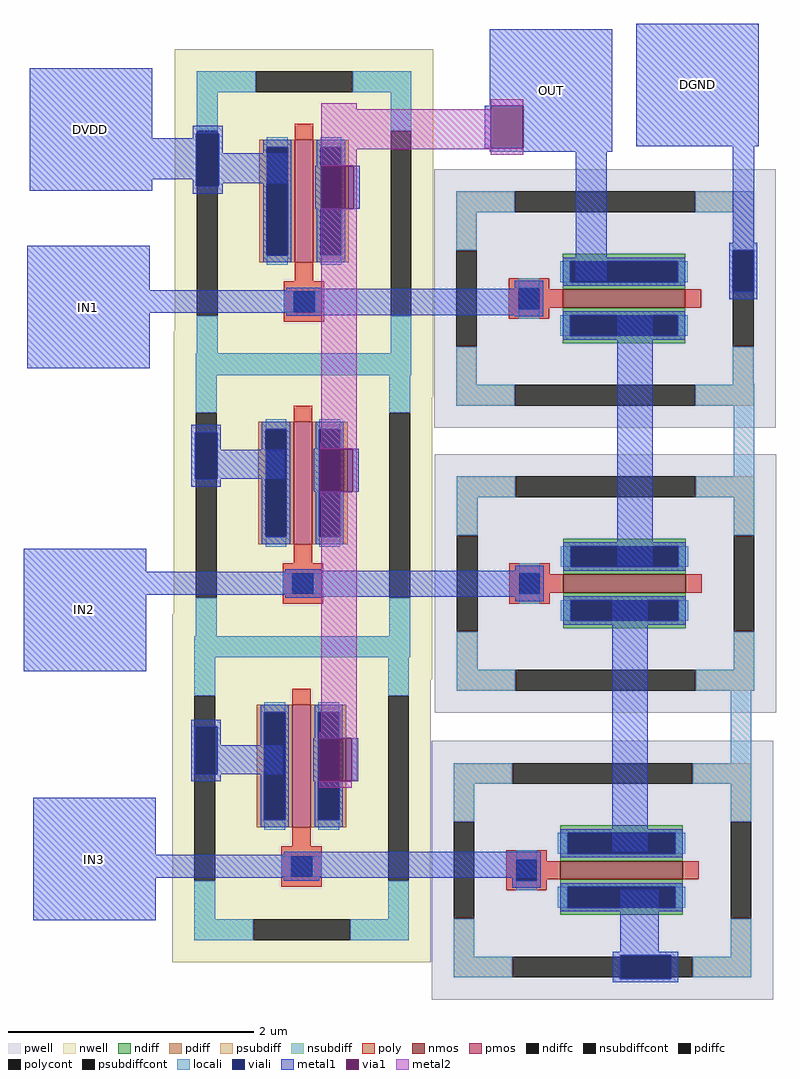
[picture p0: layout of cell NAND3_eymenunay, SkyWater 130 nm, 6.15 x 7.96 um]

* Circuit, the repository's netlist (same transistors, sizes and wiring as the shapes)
* NGSPICE file created from NAND3_eymenunay.ext - technology: sky130B

.subckt sky130_fd_pr__nfet_01v8_64Z3AY a_15_n131# a_n175_n243# a_n33_91# a_n73_n131#
X0 a_15_n131# a_n33_91# a_n73_n131# a_n175_n243# sky130_fd_pr__nfet_01v8 ad=2.9e+11p pd=2.58e+06u as=2.9e+11p ps=2.58e+06u w=1e+06u l=150000u
.ends

.subckt sky130_fd_pr__pfet_01v8_QDT3BL a_n73_n64# a_n33_n161# a_15_n64# w_n211_n284#
X0 a_15_n64# a_n33_n161# a_n73_n64# w_n211_n284# sky130_fd_pr__pfet_01v8 ad=2.9e+11p pd=2.58e+06u as=2.9e+11p ps=2.58e+06u w=1e+06u l=150000u
.ends

.subckt sky130_fd_pr__pfet_01v8_BDT3BC a_n73_n64# a_n33_n161# a_15_n64# w_n211_n284#
X0 a_15_n64# a_n33_n161# a_n73_n64# w_n211_n284# sky130_fd_pr__pfet_01v8 ad=2.9e+11p pd=2.58e+06u as=2.9e+11p ps=2.58e+06u w=1e+06u l=150000u
.ends

.subckt sky130_fd_pr__pfet_01v8_7HS3BC a_n73_n64# a_n33_n161# a_15_n64# w_n211_n284#
X0 a_15_n64# a_n33_n161# a_n73_n64# w_n211_n284# sky130_fd_pr__pfet_01v8 ad=2.9e+11p pd=2.58e+06u as=2.9e+11p ps=2.58e+06u w=1e+06u l=150000u
.ends

.subckt NAND3_eymenunay IN1 IN2 OUT DVDD DGND IN3
XXM1 m1_1770_107# DGND IN3 DGND sky130_fd_pr__nfet_01v8_64Z3AY
XXM2 OUT DGND IN1 m1_1778_573# sky130_fd_pr__nfet_01v8_64Z3AY
XXM3 DVDD IN3 OUT DVDD sky130_fd_pr__pfet_01v8_QDT3BL
XXM4 DVDD IN2 OUT DVDD sky130_fd_pr__pfet_01v8_BDT3BC
XXM5 DVDD IN1 OUT DVDD sky130_fd_pr__pfet_01v8_7HS3BC
XXM6 m1_1778_573# DGND IN2 m1_1770_107# sky130_fd_pr__nfet_01v8_64Z3AY
.ends

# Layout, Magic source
magic
tech sky130B
magscale 1 2
<< locali >>
rect 1968 682 2002 870
rect 1963 215 1997 403
<< viali >>
rect 1091 1192 1128 1279
rect 1967 1020 2001 1088
rect 1089 714 1125 791
rect 1089 233 1125 310
rect 1783 -101 1866 -63
<< metal1 >>
rect 819 1271 1019 1385
rect 1570 1324 1770 1449
rect 1085 1279 1134 1291
rect 1085 1271 1091 1279
rect 819 1204 1091 1271
rect 819 1185 1019 1204
rect 1085 1192 1091 1204
rect 1128 1246 1134 1279
rect 1562 1254 1572 1324
rect 1625 1254 1770 1324
rect 1809 1258 2009 1458
rect 1570 1249 1770 1254
rect 1128 1197 1242 1246
rect 1128 1192 1134 1197
rect 1085 1180 1134 1192
rect 1285 1156 1295 1226
rect 1348 1156 1358 1226
rect 815 1023 1015 1095
rect 1710 1038 1761 1249
rect 1967 1100 2002 1258
rect 1961 1088 2007 1100
rect 1239 1023 1655 1025
rect 815 986 1655 1023
rect 1961 1020 1967 1088
rect 2001 1020 2007 1088
rect 1961 1008 2007 1020
rect 815 895 1015 986
rect 1239 982 1655 986
rect 1083 791 1131 803
rect 1083 714 1089 791
rect 1125 762 1131 791
rect 1125 715 1235 762
rect 1125 714 1131 715
rect 1083 702 1131 714
rect 1283 694 1293 764
rect 1346 694 1356 764
rect 809 563 1009 601
rect 1778 573 1836 984
rect 1236 563 1658 565
rect 809 526 1658 563
rect 809 401 1009 526
rect 1236 522 1658 526
rect 1083 310 1131 322
rect 1083 233 1089 310
rect 1125 280 1131 310
rect 1125 233 1232 280
rect 1083 221 1131 233
rect 1282 221 1292 291
rect 1345 221 1355 291
rect 825 101 1025 194
rect 1770 107 1828 518
rect 1235 101 1653 106
rect 825 64 1653 101
rect 825 -6 1025 64
rect 1783 -57 1846 44
rect 1771 -63 1878 -57
rect 1771 -101 1783 -63
rect 1866 -101 1878 -63
rect 1771 -107 1878 -101
<< via1 >>
rect 1572 1254 1625 1324
rect 1295 1156 1348 1226
rect 1293 694 1346 764
rect 1292 221 1345 291
<< metal2 >>
rect 1295 1318 1353 1328
rect 1572 1324 1625 1334
rect 1295 1254 1572 1318
rect 1295 1253 1625 1254
rect 1295 1226 1353 1253
rect 1572 1244 1625 1253
rect 1348 1156 1353 1226
rect 1295 774 1353 1156
rect 1293 764 1353 774
rect 1346 694 1353 764
rect 1293 684 1353 694
rect 1295 301 1353 684
rect 1292 291 1353 301
rect 1345 222 1353 291
rect 1292 211 1345 221
use sky130_fd_pr__nfet_01v8_64Z3AY  XM1
transform 0 -1 1754 1 0 76
box -211 -279 211 279
use sky130_fd_pr__nfet_01v8_64Z3AY  XM2
transform 0 -1 1758 1 0 1009
box -211 -279 211 279
use sky130_fd_pr__pfet_01v8_QDT3BL  XM3
transform 1 0 1263 0 1 210
box -211 -284 211 284
use sky130_fd_pr__pfet_01v8_BDT3BC  XM4
transform 1 0 1265 0 1 672
box -211 -284 211 284
use sky130_fd_pr__pfet_01v8_7HS3BC  XM5
transform 1 0 1267 0 1 1132
box -211 -284 211 284
use sky130_fd_pr__nfet_01v8_64Z3AY  XM6
transform 0 -1 1759 1 0 544
box -211 -279 211 279
<< labels >>
flabel metal1 809 401 1009 601 0 FreeSans 256 0 0 0 IN2
port 1 nsew
flabel metal1 819 1185 1019 1385 0 FreeSans 256 0 0 0 DVDD
port 3 nsew
flabel metal1 1809 1258 2009 1458 0 FreeSans 256 0 0 0 DGND
port 4 nsew
flabel metal1 1570 1249 1770 1449 0 FreeSans 256 0 0 0 OUT
port 2 nsew
flabel metal1 825 -6 1025 194 0 FreeSans 256 0 0 0 IN3
port 5 nsew
flabel metal1 815 895 1015 1095 0 FreeSans 256 0 0 0 IN1
port 0 nsew
<< end >>

# cell sky130_fd_pr__nfet_01v8_64Z3AY: kit device sky130_fd_pr__nfet_01v8, w 1.0 l 0.15 m 1 nf 1 diffcov 100 polycov 100 guard 1 glc 1 grc 1 gtc 1 gbc 1 tbcov 100 rlcov 100 topc 1 botc 0 poverlap 0 doverlap 1 lmin 0.15 wmin 0.42 compatible {sky130_fd_pr__nfet_01v8 sky130_fd_pr__nfet_01v8_lvt sky130_fd_bs_flash__special_sonosfet_star sky130_fd_pr__nfet_g5v0d10v5 sky130_fd_pr__nfet_05v0_nvt sky130_fd_pr__nfet_03v3_nvt} full_metal 1 viasrc 100 viadrn 100 viagate 100 viagb 0 viagr 0 viagl 0 viagt 0

# cell sky130_fd_pr__pfet_01v8_QDT3BL: kit device sky130_fd_pr__pfet_01v8, w 1.0 l 0.15 m 1 nf 1 diffcov 100 polycov 100 guard 1 glc 1 grc 1 gtc 0 gbc 1 tbcov 100 rlcov 100 topc 0 botc 1 poverlap 0 doverlap 1 lmin 0.15 wmin 0.42 compatible {sky130_fd_pr__pfet_01v8 sky130_fd_pr__pfet_01v8_lvt sky130_fd_pr__pfet_01v8_hvt sky130_fd_pr__pfet_g5v0d10v5} full_metal 1 viasrc 100 viadrn 100 viagate 100 viagb 0 viagr 0 viagl 0 viagt 0

# cell sky130_fd_pr__pfet_01v8_BDT3BC: kit device sky130_fd_pr__pfet_01v8, w 1.0 l 0.15 m 1 nf 1 diffcov 100 polycov 100 guard 1 glc 1 grc 1 gtc 0 gbc 0 tbcov 100 rlcov 100 topc 0 botc 1 poverlap 0 doverlap 1 lmin 0.15 wmin 0.42 compatible {sky130_fd_pr__pfet_01v8 sky130_fd_pr__pfet_01v8_lvt sky130_fd_pr__pfet_01v8_hvt sky130_fd_pr__pfet_g5v0d10v5} full_metal 1 viasrc 100 viadrn 100 viagate 100 viagb 0 viagr 0 viagl 0 viagt 0

# cell sky130_fd_pr__pfet_01v8_7HS3BC: kit device sky130_fd_pr__pfet_01v8, w 1.0 l 0.15 m 1 nf 1 diffcov 100 polycov 100 guard 1 glc 1 grc 1 gtc 1 gbc 0 tbcov 100 rlcov 100 topc 0 botc 1 poverlap 0 doverlap 1 lmin 0.15 wmin 0.42 compatible {sky130_fd_pr__pfet_01v8 sky130_fd_pr__pfet_01v8_lvt sky130_fd_pr__pfet_01v8_hvt sky130_fd_pr__pfet_g5v0d10v5} full_metal 1 viasrc 100 viadrn 100 viagate 100 viagb 0 viagr 0 viagl 0 viagt 0
